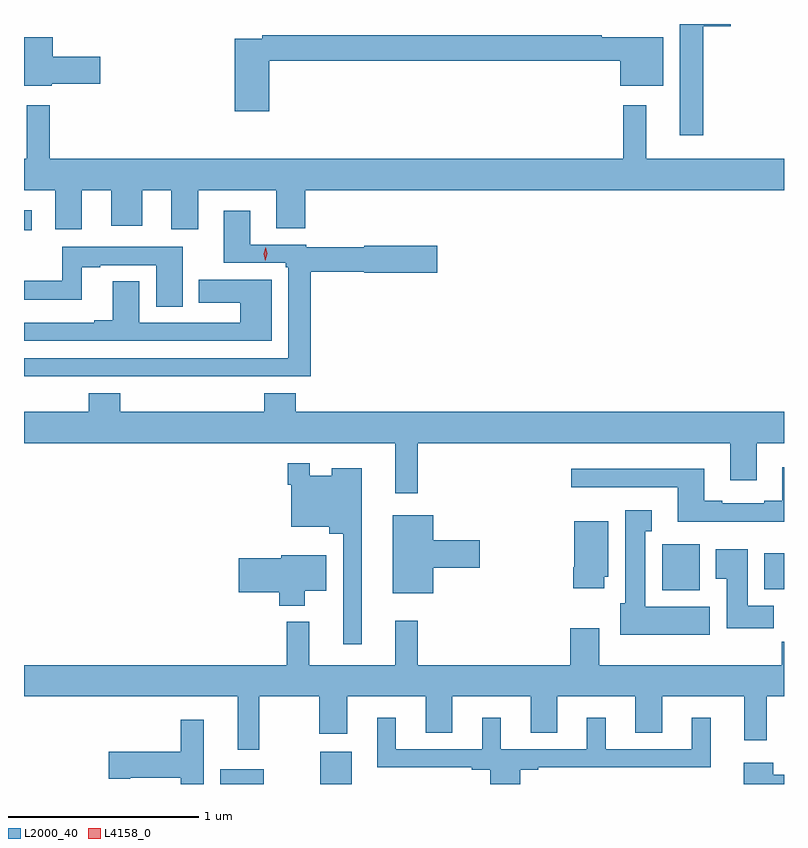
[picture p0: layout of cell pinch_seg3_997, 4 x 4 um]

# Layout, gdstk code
import gdstk
lib = gdstk.Library(unit=1e-6, precision=1e-09)
def R(c, l, rs):  # rectangles x0, y0, x1, y1
    for r in rs: c.add(gdstk.rectangle(r[:2], r[2:], *l))
def P(c, l, *ps):  # polygons
    for p in ps: c.add(gdstk.Polygon(p, *l))
L2000_40 = (2000, 40)
L4158_0 = (4158, 0)

pinch_seg3_997 = lib.new_cell('pinch_seg3_997')
R(pinch_seg3_997, L2000_40, [(418.559,685.802,418.786,685.879), (419.084,685.802,419.251,685.972), (420.884,686.822,421.081,687.064), (421.421,686.828,421.525,687.016), (417.525,688.716,417.565,688.822)])
P(pinch_seg3_997, L2000_40, [(421.099,689.789),(421.246,689.789),(421.246,689.802),(420.977,689.802),(420.977,689.217),(421.099,689.217)],
  [(418.817,689.608),(420.662,689.608),(420.662,689.477),(420.889,689.477),(420.889,689.731),(420.566,689.731),(420.566,689.744),(418.78,689.744),(418.78,689.724),(418.634,689.724),(418.634,689.343),(418.817,689.343)],
  [(417.672,689.488),(417.925,689.488),(417.925,689.63),(417.676,689.63),(417.676,689.731),(417.525,689.731),(417.525,689.477),(417.672,689.477)],
  [(417.829,688.928),(417.983,688.928),(417.983,688.74),(418.147,688.74),(418.147,688.928),(418.301,688.928),(418.301,688.722),(418.441,688.722),(418.441,688.928),(418.853,688.928),(418.853,688.726),(419.006,688.726),(419.006,688.928),(421.525,688.928),(421.525,689.092),(420.799,689.092),(420.799,689.374),(420.678,689.374),(420.678,689.092),(417.661,689.092),(417.661,689.374),(417.539,689.374),(417.539,689.092),(417.525,689.092),(417.525,688.928),(417.689,688.928),(417.689,688.722),(417.829,688.722)],
  [(417.782,687.948),(418.114,687.948),(418.114,687.947),(418.706,687.947),(418.706,687.948),(419.033,687.948),(419.033,688.498),(419.316,688.498),(419.316,688.493),(419.701,688.493),(419.701,688.635),(419.316,688.635),(419.316,688.627),(419.01,688.627),(419.01,688.641),(418.717,688.641),(418.717,688.819),(418.577,688.819),(418.577,688.545),(418.902,688.545),(418.902,688.521),(418.917,688.521),(418.917,688.044),(417.525,688.044),(417.525,687.947),(417.782,687.947)],
  [(418.36,688.629),(417.727,688.629),(417.727,688.451),(417.525,688.451),(417.525,688.35),(417.829,688.35),(417.829,688.521),(417.925,688.521),(417.925,688.533),(418.22,688.533),(418.22,688.315),(418.36,688.315)],
  [(418.828,688.456),(418.445,688.456),(418.445,688.334),(418.664,688.334),(418.664,688.23),(418.132,688.23),(418.132,688.448),(417.992,688.448),(417.992,688.243),(417.896,688.243),(417.896,688.23),(417.525,688.23),(417.525,688.134),(418.828,688.134)],
  [(419.597,687.596),(421.241,687.596),(421.241,687.402),(421.381,687.402),(421.381,687.596),(421.525,687.596),(421.525,687.76),(418.955,687.76),(418.955,687.859),(418.79,687.859),(418.79,687.76),(418.031,687.76),(418.031,687.859),(417.866,687.859),(417.866,687.76),(417.525,687.76),(417.525,687.596),(419.48,687.596),(419.48,687.333),(419.597,687.333)],
  [(419.302,687.463),(419.144,687.463),(419.144,687.424),(419.028,687.424),(419.028,687.49),(418.912,687.49),(418.912,687.377),(418.932,687.377),(418.932,687.155),(419.132,687.155),(419.132,687.119),(419.205,687.119),(419.205,686.538),(419.302,686.538)],
  [(421.525,687.469),(421.517,687.469),(421.517,687.292),(421.421,687.292),(421.421,687.279),(421.201,687.279),(421.201,687.292),(421.105,687.292),(421.105,687.46),(420.405,687.46),(420.405,687.363),(420.965,687.363),(420.965,687.182),(421.525,687.182)],
  [(421.135,686.734),(420.796,686.734),(420.796,687.131),(420.829,687.131),(420.829,687.244),(420.689,687.244),(420.689,686.754),(420.662,686.754),(420.662,686.588),(421.135,686.588)],
  [(419.68,686.939),(419.923,686.939),(419.923,687.086),(419.68,687.086),(419.68,687.217),(419.465,687.217),(419.465,686.807),(419.68,686.807)],
  [(420.58,686.892),(420.601,686.892),(420.601,687.184),(420.422,687.184),(420.422,686.944),(420.415,686.944),(420.415,686.832),(420.58,686.832)],
  [(421.472,686.74),(421.333,686.74),(421.333,687.037),(421.166,687.037),(421.166,686.881),(421.223,686.881),(421.223,686.622),(421.472,686.622)],
  [(419.002,686.819),(419.116,686.819),(419.116,687.007),(418.88,687.007),(418.88,686.99),(418.656,686.99),(418.656,686.812),(418.868,686.812),(418.868,686.741),(419.002,686.741)],
  [(418.763,686.264),(419.08,686.264),(419.08,686.067),(419.227,686.067),(419.227,686.264),(419.639,686.264),(419.639,686.071),(419.779,686.071),(419.779,686.264),(420.191,686.264),(420.191,686.071),(420.331,686.071),(420.331,686.264),(420.743,686.264),(420.743,686.071),(420.883,686.071),(420.883,686.264),(421.316,686.264),(421.316,686.031),(421.433,686.031),(421.433,686.264),(421.525,686.264),(421.525,686.552),(421.513,686.552),(421.513,686.428),(420.553,686.428),(420.553,686.623),(420.401,686.623),(420.401,686.428),(419.597,686.428),(419.597,686.662),(419.48,686.662),(419.48,686.428),(419.027,686.428),(419.027,686.656),(418.909,686.656),(418.909,686.428),(417.525,686.428),(417.525,686.264),(418.649,686.264),(418.649,685.983),(418.763,685.983)],
  [(420.136,685.878),(420.232,685.878),(420.232,685.89),(421.139,685.89),(421.139,686.152),(421.04,686.152),(421.04,685.986),(420.586,685.986),(420.586,686.152),(420.488,686.152),(420.488,685.986),(420.034,685.986),(420.034,686.152),(419.936,686.152),(419.936,685.986),(419.482,685.986),(419.482,686.152),(419.384,686.152),(419.384,685.89),(419.882,685.89),(419.882,685.878),(419.978,685.878),(419.978,685.802),(420.136,685.802)],
  [(418.471,686.14),(418.35,686.14),(418.35,685.971),(417.972,685.971),(417.972,685.829),(418.084,685.829),(418.084,685.834),(418.35,685.834),(418.35,685.802),(418.471,685.802)],
  [(421.525,685.851),(421.469,685.851),(421.469,685.915),(421.313,685.915),(421.313,685.802),(421.525,685.802)])
P(pinch_seg3_997, L4158_0, [(418.796,688.557),(418.796,688.557),(418.787,688.592),(418.797,688.628),(418.797,688.628),(418.797,688.628),(418.806,688.592),(418.796,688.557)])

lib.write_gds('pinch_seg3_997.gds')
